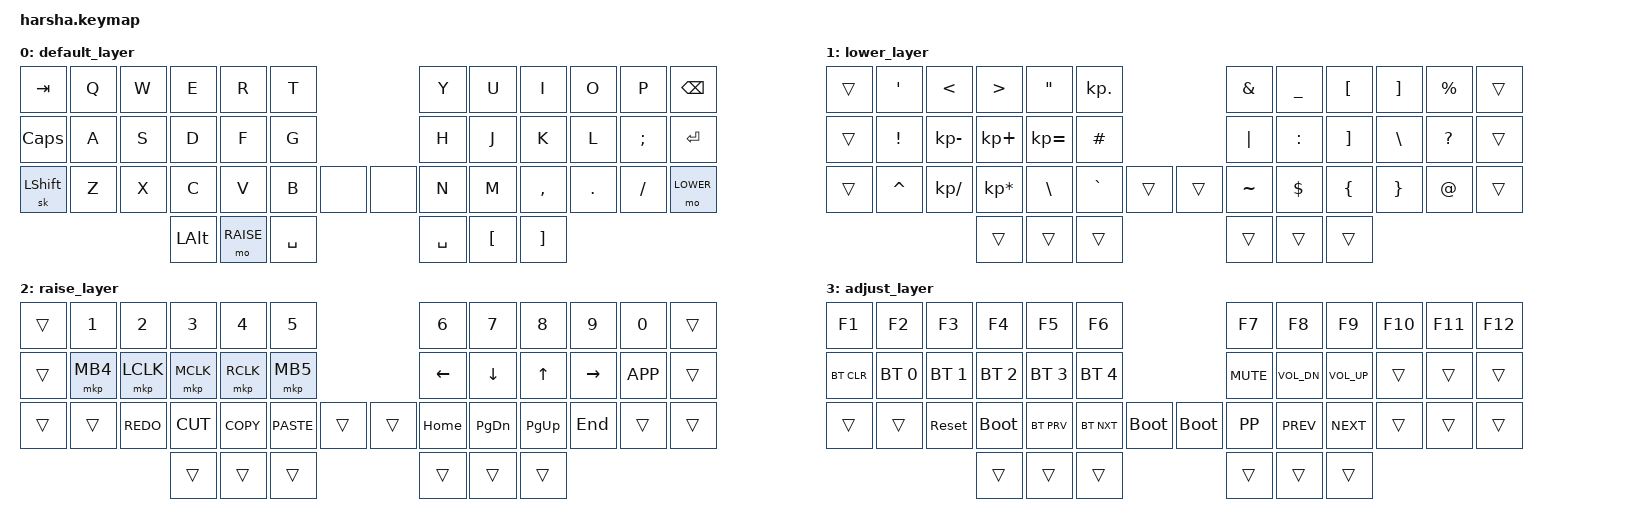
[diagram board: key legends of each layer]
#include <behaviors.dtsi>
#include <dt-bindings/zmk/keys.h>
#include <dt-bindings/zmk/bt.h>
#include <dt-bindings/zmk/outputs.h>
#include <dt-bindings/zmk/mouse.h>

#define BASE 0
#define LOWER  1
#define RAISE  2
#define ADJUST  3

#define AS(keycode) &as LS(keycode) keycode // Autoshift Macro

&mt {
  quick-tap-ms = <100>;
  global-quick-tap;
  flavor = "tap-preferred";
  tapping-term-ms = <180>;
};

&sk {  // sticky-key config
    release-after-ms = <900>;  // release after 0.6s
    quick-release;             // no double capitalization when rolling keys
};

&lt {
    tapping-term-ms = <250>;
    quick_tap_ms = <200>;
    flavor = "tap-preferred";
};

&sl {  // sticky-layer config
    ignore-modifiers;          // allow chording sticky mods & layers
};

/ {

    
    conditional_layers {
        compatible = "zmk,conditional-layers";
        tri_layer {
            if-layers = <LOWER RAISE>;
            then-layer = <ADJUST>;
        };
    };

        keymap {
                compatible = "zmk,keymap";

 default_layer {

            bindings = <
&kp TAB    &kp Q   &kp W   &kp E   &kp R   &kp T                       &kp Y   &kp U   &kp I       &kp O       &kp P       &kp BKSP
&kp CAPS     &kp A   &kp S   &kp D   &kp F   &kp G                       &kp H   &kp J   &kp K       &kp L       &kp SEMI    &kp RET
&sk LSHIFT    &kp Z   &kp X   &kp C   &kp V   &kp B  &none  &none                       &kp N   &kp M   &kp COMMA   &kp DOT     &kp FSLH    &mo LOWER
                    &kp LALT  &mo RAISE  &kp SPACE     &kp SPACE    &kp LBKT   &kp RBKT
            >;

        };

lower_layer {

            bindings = <
&trans &kp APOS  &kp LT         &kp GT          &kp DQT         &kp KP_DOT                  &kp AMPS    &kp UNDER   &kp LBKT    &kp RBKT    &kp PRCNT   &trans
&trans &kp EXCL  &kp KP_MINUS   &kp KP_PLUS     &kp KP_EQUAL    &kp HASH                    &kp PIPE    &kp COLON   &kp RBKT    &kp BSLH    &kp QMARK   &trans
&trans &kp CARET &kp KP_SLASH   &kp KP_ASTERISK &kp BACKSLASH   &kp GRAVE   &trans &trans   &kp TILDE   &kp DLLR    &kp LBRC    &kp RBRC    &kp AT      &trans
                                &trans          &trans          &trans                      &trans      &trans      &trans
            >;
        };


raise_layer {

            bindings = <
&trans  &kp N1      &kp N2      &kp N3      &kp N4      &kp N5                          &kp N6      &kp N7      &kp N8      &kp N9      &kp N0 &trans
&trans  &mkp MB4    &mkp LCLK   &mkp MCLK   &mkp RCLK   &mkp MB5                        &kp LEFT    &kp DOWN    &kp UP      &kp RIGHT   &kp K_APP &trans
&trans  &trans      &kp K_REDO  &kp K_CUT   &kp K_COPY  &kp K_PASTE   &trans &trans  &kp HOME    &kp PG_DN   &kp PG_UP   &kp END     &trans &trans
                                &trans      &trans      &trans                          &trans      &trans      &trans
            >;
        };

    adjust_layer {

            bindings = <
&kp F1 &kp F2 &kp F3 &kp F4 &kp F5 &kp F6 &kp F7 &kp F8 &kp F9 &kp F10 &kp F11 &kp F12
&bt BT_CLR  &bt BT_SEL 0    &bt BT_SEL 1    &bt BT_SEL 2        &bt BT_SEL 3    &bt BT_SEL 4                        &kp K_MUTE  &kp K_VOL_DN    &kp K_VOL_UP    &trans  &trans  &trans
&trans      &trans          &sys_reset      &bootloader         &bt BT_PRV      &bt BT_NXT &bootloader &bootloader  &kp K_PP    &kp K_PREV      &kp K_NEXT      &trans  &trans  &trans
                           &trans  &trans    &trans             &trans   &trans   &trans
            >;
        };



        };
};
